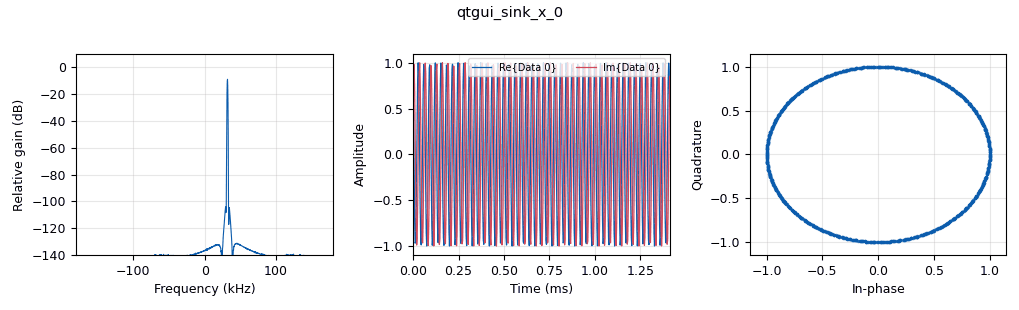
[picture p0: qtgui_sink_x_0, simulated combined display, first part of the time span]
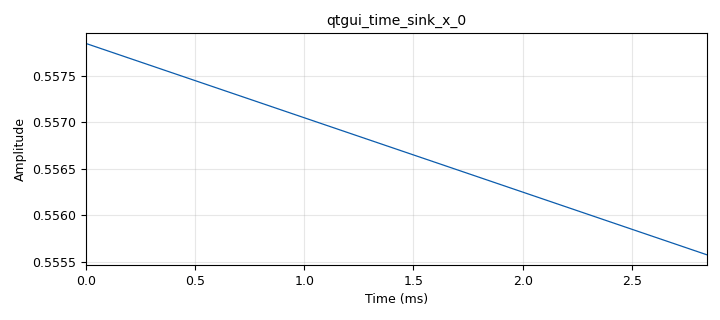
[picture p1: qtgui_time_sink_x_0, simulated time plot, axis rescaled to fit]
options:
  parameters:
    author: pi
    generate_options: qt_gui
    id: triangle_ch3_vol2
    output_language: python
    title: Not titled yet
  states: {}

blocks:
- name: samp_rate
  id: variable
  parameters:
    value: 360e3
  states: {}
- name: sensitivity
  id: variable_qtgui_entry
  parameters:
    type: real
    value: '1'
  states: {}
- name: analog_frequency_modulator_fc_0
  id: analog_frequency_modulator_fc
  parameters:
    sensitivity: sensitivity
  states: {}
- name: analog_phase_modulator_fc_0
  id: analog_phase_modulator_fc
  parameters:
    sensitivity: sensitivity
  states: {state: disabled}
- name: analog_sig_source_x_0
  id: analog_sig_source_x
  parameters:
    amp: '2'
    freq: '0.2'
    offset: '-1'
    phase: '0'
    samp_rate: samp_rate
    type: float
    waveform: analog.GR_TRI_WAVE
  states: {}
- name: analog_sig_source_x_1
  id: analog_sig_source_x
  parameters:
    amp: '1'
    freq: '1000'
    offset: '0'
    phase: '0'
    samp_rate: samp_rate
    type: complex
    waveform: analog.GR_COS_WAVE
  states: {state: disabled}
- name: blocks_multiply_xx_0
  id: blocks_multiply_xx
  parameters:
    type: complex
  states: {state: disabled}
- name: blocks_throttle_0
  id: blocks_throttle
  parameters:
    samples_per_second: samp_rate
    type: float
  states: {}
- name: qtgui_sink_x_0
  id: qtgui_sink_x
  parameters:
    bw: samp_rate
    fc: '0'
    fftsize: '1024'
    type: complex
    wintype: firdes.WIN_BLACKMAN_hARRIS
  states: {}
- name: qtgui_time_sink_x_0
  id: qtgui_time_sink_x
  parameters:
    size: '1024'
    srate: samp_rate
    type: float
  states: {}
- name: qtgui_time_sink_x_1
  id: qtgui_time_sink_x
  parameters:
    nconnections: '2'
    size: '1024'
    srate: samp_rate
    type: complex
  states: {state: disabled}

connections:
- [analog_frequency_modulator_fc_0, '0', qtgui_sink_x_0, '0']
- [analog_phase_modulator_fc_0, '0', blocks_multiply_xx_0, '1']
- [analog_sig_source_x_0, '0', blocks_throttle_0, '0']
- [analog_sig_source_x_1, '0', blocks_multiply_xx_0, '0']
- [analog_sig_source_x_1, '0', qtgui_time_sink_x_1, '0']
- [blocks_multiply_xx_0, '0', qtgui_time_sink_x_1, '1']
- [blocks_throttle_0, '0', analog_frequency_modulator_fc_0, '0']
- [blocks_throttle_0, '0', analog_phase_modulator_fc_0, '0']
- [blocks_throttle_0, '0', qtgui_time_sink_x_0, '0']

metadata:
  file_format: 1
